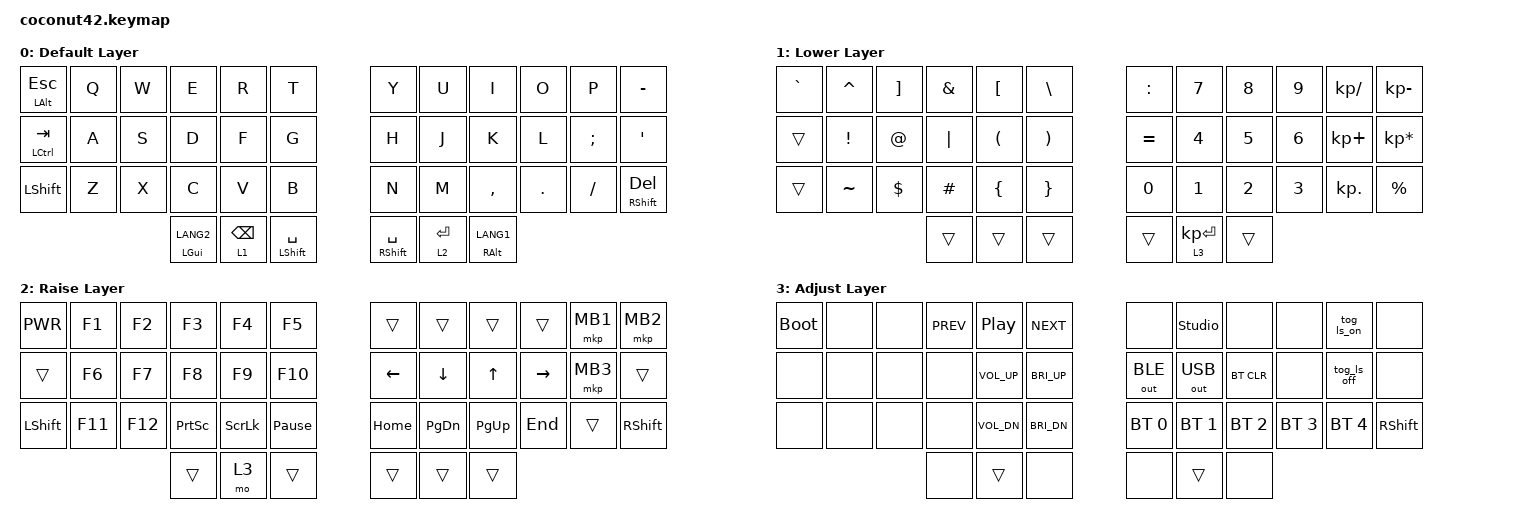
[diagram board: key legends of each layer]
/*
 * Copyright (c) 2024 Satoru NAKAYA
 *
 * SPDX-License-Identifier: MIT
 */

#include <behaviors.dtsi>
#include <dt-bindings/zmk/keys.h>
#include <dt-bindings/zmk/pointing.h>
#include <dt-bindings/zmk/bt.h>
#include <dt-bindings/zmk/outputs.h>
#include <layout_shift_kp_override.dtsi>

&lt { quick-tap-ms = <200>; };
&mt { quick-tap-ms = <200>; };

/ {
    keymap {
        compatible = "zmk,keymap";

        default_layer { // layer 0
            display-name = "Default Layer";
// -----------------------------------------------------------------------------------------
// |OP_ESC |  Q  |  W  |  E  |  R  |  T  |   |  Y  |  U  |  I  |  O  |  P  |   -   |
// |CTL_TAB|  A  |  S  |  D  |  F  |  G  |   |  H  |  J  |  K  |  L  |  ;  |   '   |
// |  SHFT |  Z  |  X  |  C  |  V  |  B  |   |  N  |  M  |  ,  |  .  |  /  |SFT_DEL|
//                  |CM_EISU|LOW_BS| SPC |   | SPC |RAI_ENT|OP_KANA|
            bindings = <
&mt LALT ESC  &kp Q &kp W &kp E &kp R &kp T   &kp Y &kp U  &kp I     &kp O   &kp P    &kp MINUS
&mt LCTRL TAB &kp A &kp S &kp D &kp F &kp G   &kp H &kp J  &kp K     &kp L   &kp SEMI &kp SQT
&kp LSHFT     &kp Z &kp X &kp C &kp V &kp B   &kp N &kp M  &kp COMMA &kp DOT &kp FSLH &mt RSHFT DEL
  &mt LGUI LANG2 &lt 1 BSPC &mt LSHFT SPACE   &mt RSHFT SPACE &lt 2 RET &mt RALT LANG1
            >;
        };

        lower_layer {   // layer 1
            display-name = "Lower Layer";
// -----------------------------------------------------------------------------------------
// |   `   |  ^  |  ]  |  &  |  [  |  \  |   |  :  |  7  |  8  |  9  |  /  |   -   |
// |       |  !  |  @  | "|" |  (  |  )  |   |  =  |  4  |  5  |  6  |  +  |   *   |
// |       |  ~  |  $  |  #  |  {  |  }  |   |  0  |  1  |  2  |  3  |  .  |   %   |
//                     |     |     |     |   |     |ADJ_ENT|   |
            bindings = <
&kp GRAVE &kp CARET &kp RBKT &kp AMPS &kp LBKT &kp BSLH   &kp COLON &kp N7 &kp N8 &kp N9 &kp KP_DIVIDE &kp KP_MINUS
&trans    &kp EXCL  &kp AT   &kp PIPE &kp LPAR &kp RPAR   &kp EQUAL &kp N4 &kp N5 &kp N6 &kp KP_PLUS   &kp KP_MULTIPLY
&trans    &kp TILDE &kp DLLR &kp HASH &kp LBRC &kp RBRC   &kp N0    &kp N1 &kp N2 &kp N3 &kp KP_DOT    &kp PRCNT
                             &trans   &trans   &trans     &trans    &lt 3 KP_ENTER &trans
            >;
        };

        raise_layer {   // layer 2
            display-name = "Raise Layer";
// -----------------------------------------------------------------------------------------
// |  PWR  |  F1 |  F2 |  F3 |  F4 |  F5 |   |     |     |     |     | LCLK|  RCLK |
// |       |  F6 |  F7 |  F8 |  F9 | F10 |   | LFT | DWN |  UP | RGT | MCLK|       |
// |  SHFT | F11 | F12 | PSCR| SCRL| PAUS|   | HOME| PGWN| PGUP| END |     |       |
//                    |     |ADJUST|     |   |     |     |     |
            bindings = <
&kp K_PWR &kp F1  &kp F2  &kp F3    &kp F4   &kp F5            &trans   &trans    &trans    &trans    &mkp MB1 &mkp MB2
&trans    &kp F6  &kp F7  &kp F8    &kp F9   &kp F10           &kp LEFT &kp DOWN  &kp UP    &kp RIGHT &mkp MB3 &trans
&kp LSHFT &kp F11 &kp F12 &kp PSCRN &kp SLCK &kp PAUSE_BREAK   &kp HOME &kp PG_DN &kp PG_UP &kp END   &trans   &kp RSHFT
                          &trans    &mo 3    &trans            &trans   &trans    &trans
            >;
        };

        adjust_layer {  // layer 3
            display-name = "Adjust Layer";
// -----------------------------------------------------------------------------------------
// | RESET |       |       |  PREV | PLAY | NEXT |   |       | Unlock|       |       | US2JIS|       |
// |       |       |       |       |VOL_UP|BRI_UP|   |OUT_BLE|OUT_USB| BT_CLR|       | US_KEY|       |
// |       |       |       |       |VOL_DN|BRI_DN|   |BT_SEL0|BT_SEL1|BT_SEL2|BT_SEL3|BT_SEL4|  SHFT |
//                         |       |      |      |   |       |       |       |
            bindings = <
&bootloader &none &none &kp C_PREV &kp C_PP     &kp C_NEXT     &none        &studio_unlock &none        &none        &tog_ls_on   &none
&none       &none &none &none      &kp C_VOL_UP &kp C_BRI_UP   &out OUT_BLE &out OUT_USB   &bt BT_CLR   &none        &tog_ls_off  &none
&none       &none &none &none      &kp C_VOL_DN &kp C_BRI_DN   &bt BT_SEL 0 &bt BT_SEL 1   &bt BT_SEL 2 &bt BT_SEL 3 &bt BT_SEL 4 &kp RSHFT
                        &none      &trans       &none          &none        &trans         &none
            >;
        };
    };
};
